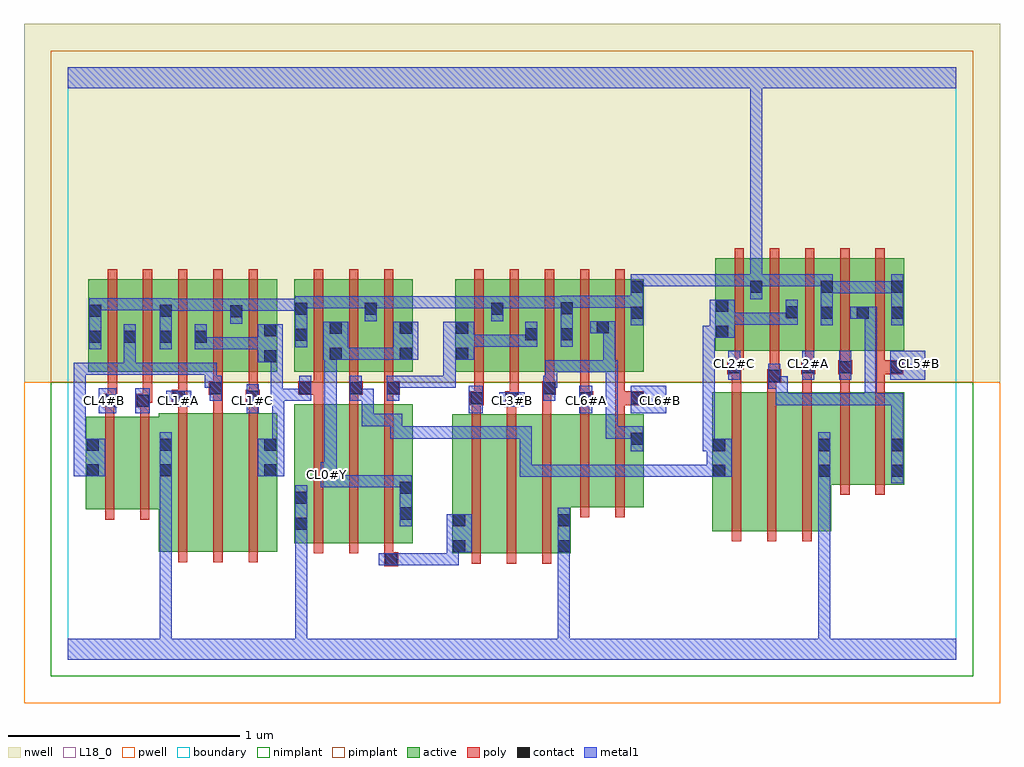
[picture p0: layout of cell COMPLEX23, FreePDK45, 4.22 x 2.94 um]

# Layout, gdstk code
import gdstk
lib = gdstk.Library(unit=1e-6, precision=1e-09)
def R(c, l, rs):  # rectangles x0, y0, x1, y1
    for r in rs: c.add(gdstk.rectangle(r[:2], r[2:], *l))
def A(c, l, x, y, w, h, nx, ny, dx, dy):  # array of equal rectangles
    R(c, l, [(x+i*dx, y+j*dy, x+i*dx+w, y+j*dy+h) for i in range(nx) for j in range(ny)])
active = (1, 0)
pwell = (2, 0)
nwell = (3, 0)
nimplant = (4, 0)
pimplant = (5, 0)
poly = (9, 0)
contact = (10, 0)
metal1 = (11, 0)
L18_0 = (18, 0)
boundary = (235, 0)

complex23 = lib.new_cell('COMPLEX23')
R(complex23, active, [(1.662,0.46,1.842,1.06), (1.662,0.46,1.722,1.06), (1.842,0.46,1.994,1.06), (1.994,0.46,2.174,1.06), (2.114,0.46,2.174,0.872), (0.394,0.466,0.574,1.066), (0.574,0.466,0.726,1.066), (0.726,0.466,0.906,1.066), (0.98,0.504,1.16,1.104), (1.16,0.504,1.312,1.104), (1.312,0.504,1.492,1.104), (1.432,0.504,1.492,1.104), (0.846,0.556,0.906,1.066), (0.98,0.556,1.04,1.104), (2.786,0.556,2.966,1.156), (2.786,0.556,2.846,1.156), (2.966,0.556,3.118,1.156), (3.118,0.556,3.298,1.156), (3.238,0.61,3.298,0.958), (0.078,0.65,0.258,1.05), (0.258,0.65,0.454,1.05), (2.114,0.66,2.31,1.06), (2.31,0.66,2.49,1.06), (0.078,0.756,0.138,1.05), (0.394,0.756,0.454,1.05), (2.43,0.756,2.49,1.06), (3.238,0.756,3.434,1.156), (3.434,0.756,3.614,1.156), (3.554,0.756,3.614,1.156), (0.09,1.244,0.15,1.644), (0.09,1.244,0.298,1.644), (0.238,1.244,0.454,1.644), (0.394,1.244,0.606,1.644), (0.546,1.244,0.758,1.644), (0.698,1.244,0.906,1.644), (0.846,1.244,0.906,1.644), (0.98,1.244,1.04,1.644), (0.98,1.244,1.188,1.644), (1.128,1.244,1.188,1.644), (1.128,1.244,1.34,1.644), (1.28,1.244,1.492,1.644), (1.432,1.244,1.492,1.644), (1.674,1.244,1.734,1.644), (1.674,1.244,1.886,1.644), (1.826,1.244,2.034,1.644), (1.974,1.244,2.186,1.644), (2.126,1.244,2.342,1.644), (2.282,1.244,2.342,1.644), (2.282,1.244,2.49,1.644), (2.43,1.244,2.49,1.644), (1.974,1.26,2.034,1.644), (0.238,1.266,0.298,1.644), (1.28,1.296,1.34,1.644), (0.546,1.314,0.606,1.644), (2.126,1.324,2.186,1.644), (2.798,1.334,2.858,1.644), (2.798,1.334,3.006,1.734), (2.946,1.334,3.158,1.734), (3.098,1.334,3.158,1.644), (3.098,1.334,3.31,1.734), (3.25,1.334,3.31,1.644), (3.25,1.334,3.466,1.734), (3.406,1.334,3.466,1.644), (3.406,1.334,3.614,1.734), (3.554,1.334,3.614,1.644), (0.394,1.338,0.454,1.644), (0.698,1.34,0.758,1.644), (2.946,1.342,3.006,1.644), (1.826,1.346,1.886,1.644)])
R(complex23, pwell, [(-0.188,-0.188,4.028,1.2)])
R(complex23, nwell, [(-0.188,1.2,4.028,2.748)])
R(complex23, nimplant, [(-0.072,-0.072,3.912,1.2)])
R(complex23, pimplant, [(-0.072,1.2,3.912,2.632)])
A(complex23, poly, 1.746, 0.416, 0.04, 0.688, 3, 1, 0.152, 0)
A(complex23, poly, 0.478, 0.422, 0.04, 0.688, 3, 1, 0.152, 0)
A(complex23, poly, 1.064, 0.46, 0.04, 0.688, 3, 1, 0.152, 0)
A(complex23, poly, 2.87, 0.512, 0.04, 0.688, 3, 1, 0.152, 0)
A(complex23, poly, 1.064, 1.108, 0.04, 0.076, 3, 2, 0.152, 0.056)
A(complex23, poly, 0.174, 1.2, 0.04, 0.488, 5, 1, 0.152, 0)
A(complex23, poly, 1.064, 1.2, 0.04, 0.488, 3, 1, 0.152, 0)
A(complex23, poly, 1.758, 1.2, 0.04, 0.488, 5, 1, 0.152, 0)
A(complex23, poly, 3.186, 1.254, 0.04, 0.076, 3, 1, 0.152, 0)
A(complex23, poly, 2.882, 1.29, 0.04, 0.488, 5, 1, 0.152, 0)
R(complex23, poly, [(1.368,0.404,1.428,0.464), (1.368,0.424,1.408,0.5), (0.162,0.606,0.202,1.094), (0.314,0.606,0.354,1.094), (2.214,0.616,2.254,1.104), (2.366,0.616,2.406,1.104), (3.338,0.712,3.378,1.2), (3.49,0.712,3.53,1.2), (0.162,1.054,0.202,1.13), (0.314,1.054,0.354,1.13), (1.746,1.064,1.786,1.14), (1.898,1.064,1.938,1.14), (2.05,1.064,2.09,1.184), (2.214,1.064,2.254,1.14), (2.366,1.064,2.406,1.14), (0.478,1.07,0.518,1.146), (0.63,1.07,0.67,1.184), (0.782,1.07,0.822,1.146), (0.154,1.09,0.214,1.15), (0.294,1.09,0.354,1.15), (1.738,1.1,1.798,1.16), (1.746,1.1,1.786,1.14), (1.746,1.1,1.786,1.14), (1.89,1.1,1.95,1.16), (1.898,1.1,1.938,1.14), (1.898,1.1,1.938,1.14), (2.21,1.1,2.27,1.16), (2.366,1.1,2.406,1.14), (2.366,1.1,2.406,1.14), (2.366,1.1,2.49,1.16), (0.45,1.106,0.518,1.166), (0.77,1.106,0.83,1.166), (0.174,1.11,0.214,1.15), (0.174,1.11,0.214,1.15), (0.174,1.11,0.214,1.24), (0.314,1.11,0.354,1.15), (0.314,1.11,0.366,1.15), (0.326,1.11,0.366,1.24), (1.758,1.12,1.798,1.24), (1.91,1.12,1.95,1.24), (2.214,1.12,2.254,1.16), (2.214,1.12,2.254,1.16), (2.214,1.12,2.254,1.24), (2.366,1.12,2.406,1.24), (0.478,1.126,0.518,1.166), (0.478,1.126,0.518,1.166), (0.478,1.126,0.518,1.24), (0.782,1.126,0.822,1.166), (0.782,1.126,0.822,1.166), (0.782,1.126,0.822,1.24), (0.61,1.144,0.67,1.204), (0.63,1.144,0.67,1.184), (0.63,1.144,0.67,1.184), (0.996,1.144,1.104,1.204), (1.064,1.144,1.104,1.184), (1.064,1.144,1.104,1.184), (1.216,1.144,1.276,1.204), (1.368,1.144,1.408,1.184), (1.368,1.144,1.408,1.184), (1.368,1.144,1.436,1.204), (2.05,1.144,2.09,1.184), (2.05,1.144,2.09,1.184), (2.05,1.144,2.11,1.204), (2.87,1.16,2.91,1.274), (3.022,1.16,3.062,1.236), (3.174,1.16,3.214,1.274), (3.338,1.16,3.378,1.274), (3.49,1.16,3.53,1.274), (0.63,1.164,0.67,1.24), (1.216,1.164,1.256,1.204), (1.216,1.164,1.256,1.204), (2.062,1.164,2.102,1.24), (3.022,1.196,3.082,1.256), (3.034,1.216,3.074,1.256), (3.034,1.216,3.074,1.256), (3.034,1.216,3.074,1.33), (2.85,1.234,2.91,1.294), (3.17,1.234,3.23,1.294), (3.174,1.234,3.214,1.274), (3.174,1.234,3.214,1.274), (3.33,1.234,3.39,1.294), (3.338,1.234,3.378,1.274), (3.338,1.234,3.378,1.274), (3.49,1.234,3.53,1.274), (3.49,1.234,3.53,1.274), (3.49,1.234,3.61,1.294), (2.87,1.254,2.91,1.294), (2.87,1.254,2.922,1.294), (2.882,1.254,2.922,1.33)])
A(complex23, contact, 2.95, 1.586, 0.052, 0.052, 3, 1, 0.304, 0)
R(complex23, contact, [(1.372,0.408,1.424,0.46), (1.666,0.464,1.718,0.516), (2.118,0.464,2.17,0.516), (0.984,0.562,1.036,0.614), (1.666,0.576,1.718,0.628), (2.118,0.576,2.17,0.628), (1.436,0.606,1.488,0.658), (0.984,0.674,1.036,0.726), (1.436,0.718,1.488,0.77), (2.79,0.79,2.842,0.842), (3.242,0.79,3.294,0.842), (3.558,0.79,3.61,0.842), (0.082,0.792,0.134,0.844), (0.398,0.792,0.45,0.844), (0.85,0.792,0.902,0.844), (2.79,0.902,2.842,0.954), (3.242,0.902,3.294,0.954), (3.558,0.902,3.61,0.954), (0.082,0.904,0.134,0.956), (0.398,0.904,0.45,0.956), (0.85,0.904,0.902,0.956), (2.434,0.928,2.486,0.98), (0.158,1.094,0.21,1.146), (0.298,1.094,0.35,1.146), (1.742,1.104,1.794,1.156), (1.894,1.104,1.946,1.156), (2.214,1.104,2.266,1.156), (2.434,1.104,2.486,1.156), (0.454,1.11,0.506,1.162), (0.774,1.11,0.826,1.162), (0.614,1.148,0.666,1.2), (1,1.148,1.052,1.2), (1.22,1.148,1.272,1.2), (1.38,1.148,1.432,1.2), (2.054,1.148,2.106,1.2), (3.026,1.2,3.078,1.252), (2.854,1.238,2.906,1.29), (3.174,1.238,3.226,1.29), (3.334,1.238,3.386,1.29), (3.554,1.238,3.606,1.29), (0.85,1.286,0.902,1.338), (1.132,1.296,1.184,1.348), (1.436,1.296,1.488,1.348), (1.678,1.296,1.73,1.348), (0.094,1.37,0.146,1.422), (0.242,1.37,0.294,1.422), (0.398,1.37,0.45,1.422), (0.55,1.37,0.602,1.422), (0.984,1.378,1.036,1.43), (1.978,1.38,2.03,1.432), (2.13,1.38,2.182,1.432), (2.802,1.392,2.854,1.444), (0.85,1.398,0.902,1.45), (1.132,1.408,1.184,1.46), (1.436,1.408,1.488,1.46), (1.678,1.408,1.73,1.46), (2.286,1.41,2.338,1.462), (2.434,1.474,2.486,1.526), (3.254,1.474,3.306,1.526), (3.41,1.474,3.462,1.526), (3.558,1.474,3.61,1.526), (3.102,1.476,3.154,1.528), (0.702,1.48,0.754,1.532), (0.094,1.482,0.146,1.534), (0.398,1.482,0.45,1.534), (0.984,1.49,1.036,1.542), (1.284,1.49,1.336,1.542), (1.83,1.49,1.882,1.542), (2.13,1.492,2.182,1.544), (2.802,1.504,2.854,1.556), (2.434,1.586,2.486,1.638)])
A(complex23, metal1, 1.734, 1.518, 0.052, 0.052, 3, 1, 0.11, 0)
R(complex23, metal1, [(0,0,3.84,0.092), (0.398,0.04,0.45,0.092), (0.398,0.04,0.45,0.092), (0.398,0.04,0.45,0.816), (0.984,0.04,1.036,0.092), (0.984,0.04,1.036,0.092), (0.984,0.04,1.036,0.092), (0.984,0.04,1.036,0.092), (0.984,0.04,1.036,0.092), (0.984,0.04,1.036,0.092), (0.984,0.04,1.036,0.092), (0.984,0.04,1.036,0.092), (0.984,0.04,1.036,0.586), (2.118,0.04,2.17,0.092), (2.118,0.04,2.17,0.092), (2.118,0.04,2.17,0.092), (2.118,0.04,2.17,0.092), (2.118,0.04,2.17,0.092), (2.118,0.04,2.17,0.092), (2.118,0.04,2.17,0.092), (2.118,0.04,2.17,0.092), (2.118,0.04,2.17,0.488), (3.242,0.04,3.294,0.092), (3.242,0.04,3.294,0.092), (3.242,0.04,3.294,0.814), (1.344,0.408,1.452,0.46), (1.4,0.408,1.676,0.46), (1.624,0.408,1.676,0.46), (1.624,0.408,1.69,0.46), (1.638,0.408,1.69,0.46), (1.638,0.408,1.69,0.516), (2.118,0.436,2.17,0.656), (1.638,0.464,1.746,0.628), (0.984,0.534,1.036,0.754), (1.436,0.578,1.488,0.798), (1.094,0.746,1.162,0.854), (1.11,0.746,1.162,0.798), (1.11,0.746,1.162,0.798), (1.11,0.746,1.286,0.798), (1.234,0.746,1.286,0.798), (1.234,0.746,1.322,0.798), (1.27,0.746,1.322,0.798), (1.27,0.746,1.488,0.798), (1.436,0.746,1.488,0.798), (1.436,0.746,1.488,0.798), (3.242,0.762,3.294,0.814), (3.242,0.762,3.294,0.814), (3.242,0.762,3.294,0.814), (3.242,0.762,3.294,0.814), (3.242,0.762,3.294,0.814), (3.242,0.762,3.294,0.814), (3.242,0.762,3.294,0.982), (3.558,0.762,3.61,0.982), (0.398,0.764,0.45,0.816), (0.398,0.764,0.45,0.816), (0.398,0.764,0.45,0.816), (0.398,0.764,0.45,0.816), (0.398,0.764,0.45,0.816), (0.398,0.764,0.45,0.816), (0.398,0.764,0.45,0.984), (1.954,0.79,2.006,0.842), (1.954,0.79,2.146,0.842), (1.954,0.79,2.006,1.008), (2.094,0.79,2.146,0.842), (2.094,0.79,2.146,0.842), (2.094,0.79,2.146,0.842), (2.094,0.79,2.256,0.842), (2.204,0.79,2.256,0.842), (2.204,0.79,2.376,0.842), (2.324,0.79,2.376,0.842), (2.324,0.79,2.376,0.842), (2.324,0.79,2.376,0.842), (2.324,0.79,2.596,0.842), (2.544,0.79,2.596,0.842), (2.544,0.79,2.596,0.842), (2.544,0.79,2.596,0.842), (2.544,0.79,2.814,0.842), (2.762,0.79,2.87,0.954), (0.026,0.792,0.162,0.956), (0.822,0.792,0.936,0.956), (1.11,0.802,1.162,1.348), (2.434,0.9,2.486,1.008), (2.744,0.902,2.796,0.954), (2.744,0.902,2.796,0.954), (2.744,0.902,2.796,1.444), (2.744,0.902,2.814,0.954), (2.762,0.902,2.814,0.954), (0.026,0.904,0.078,0.956), (0.026,0.904,0.078,0.956), (0.026,0.904,0.078,1.284), (0.884,0.904,0.936,1.172), (3.558,0.93,3.61,1.152), (1.394,0.956,1.772,1.008), (1.394,0.956,1.446,1.062), (1.72,0.956,1.772,1.008), (1.72,0.956,1.786,1.008), (1.734,0.956,1.786,1.008), (1.734,0.956,1.896,1.008), (1.844,0.956,1.896,1.008), (1.844,0.956,1.896,1.008), (1.844,0.956,1.896,1.008), (1.844,0.956,2.006,1.008), (1.954,0.956,2.006,1.008), (2.324,0.956,2.376,1.008), (2.324,0.956,2.486,1.008), (2.324,0.956,2.376,1.294), (2.434,0.956,2.486,1.008), (2.434,0.956,2.486,1.008), (2.434,0.956,2.486,1.008), (2.434,0.956,2.486,1.008), (1.27,1.01,1.446,1.062), (1.27,1.01,1.322,1.172), (1.394,1.01,1.446,1.062), (1.394,1.01,1.446,1.062), (0.134,1.066,0.21,1.174), (0.292,1.066,0.356,1.174), (0.774,1.066,0.826,1.19), (1.734,1.066,1.794,1.184), (2.21,1.066,2.266,1.184), (2.434,1.066,2.586,1.184), (0.426,1.094,0.534,1.162), (1.866,1.094,1.974,1.156), (3.06,1.1,3.112,1.224), (3.06,1.1,3.188,1.152), (3.136,1.1,3.188,1.152), (3.136,1.1,3.294,1.152), (3.242,1.1,3.294,1.152), (3.242,1.1,3.496,1.152), (3.444,1.1,3.496,1.152), (3.444,1.1,3.496,1.152), (3.444,1.1,3.496,1.152), (3.444,1.1,3.496,1.152), (3.444,1.1,3.496,1.152), (3.444,1.1,3.61,1.152), (3.444,1.1,3.496,1.526), (3.558,1.1,3.61,1.152), (3.558,1.1,3.61,1.152), (3.558,1.1,3.61,1.152), (0.614,1.12,0.666,1.228), (0.878,1.12,0.93,1.338), (0.878,1.12,0.936,1.172), (0.884,1.12,0.936,1.172), (0.884,1.12,0.936,1.172), (0.884,1.12,1.036,1.172), (0.984,1.12,1.036,1.172), (0.984,1.12,1.052,1.172), (1,1.12,1.052,1.228), (1.22,1.12,1.272,1.228), (1.22,1.12,1.322,1.172), (1.38,1.12,1.432,1.228), (2.054,1.12,2.106,1.228), (3.026,1.172,3.078,1.28), (3.026,1.172,3.112,1.224), (0.592,1.176,0.644,1.284), (0.592,1.176,0.666,1.228), (1.38,1.176,1.676,1.228), (1.624,1.176,1.676,1.228), (1.624,1.176,1.676,1.228), (1.624,1.176,1.676,1.228), (1.624,1.176,1.676,1.348), (2.054,1.176,2.116,1.228), (2.064,1.176,2.116,1.294), (2.854,1.21,2.906,1.334), (3.174,1.21,3.226,1.334), (3.334,1.21,3.386,1.334), (3.554,1.21,3.706,1.334), (0.026,1.232,0.078,1.284), (0.026,1.232,0.078,1.284), (0.026,1.232,0.078,1.284), (0.026,1.232,0.294,1.284), (0.242,1.232,0.294,1.284), (0.242,1.232,0.294,1.284), (0.242,1.232,0.294,1.284), (0.242,1.232,0.294,1.394), (0.242,1.232,0.486,1.284), (0.434,1.232,0.486,1.284), (0.434,1.232,0.486,1.284), (0.434,1.232,0.486,1.284), (0.434,1.232,0.644,1.284), (2.064,1.242,2.366,1.294), (2.314,1.242,2.366,1.294), (2.314,1.242,2.366,1.294), (2.314,1.242,2.366,1.462), (2.314,1.242,2.376,1.294), (0.822,1.286,0.93,1.45), (1.104,1.296,1.212,1.46), (1.11,1.296,1.162,1.348), (1.11,1.296,1.162,1.348), (1.16,1.296,1.256,1.348), (1.204,1.296,1.256,1.348), (1.204,1.296,1.336,1.348), (1.284,1.296,1.336,1.348), (1.284,1.296,1.46,1.348), (1.408,1.296,1.46,1.348), (1.408,1.296,1.46,1.348), (1.408,1.296,1.516,1.46), (1.624,1.296,1.758,1.46), (0.094,1.342,0.146,1.562), (0.242,1.342,0.294,1.45), (0.398,1.342,0.45,1.562), (0.55,1.342,0.602,1.394), (0.55,1.342,0.602,1.394), (0.55,1.342,0.754,1.394), (0.55,1.342,0.602,1.45), (0.702,1.342,0.754,1.394), (0.702,1.342,0.754,1.394), (0.702,1.342,0.754,1.394), (0.702,1.342,0.874,1.394), (0.984,1.35,1.036,1.57), (1.706,1.352,1.786,1.404), (1.734,1.352,1.786,1.404), (1.734,1.352,1.896,1.404), (1.844,1.352,1.896,1.404), (1.844,1.352,1.896,1.404), (1.844,1.352,1.896,1.404), (1.844,1.352,2.03,1.404), (1.978,1.352,2.03,1.46), (2.13,1.352,2.182,1.572), (2.744,1.392,2.826,1.444), (2.774,1.392,2.826,1.444), (2.774,1.392,2.882,1.556), (2.258,1.41,2.366,1.462), (2.434,1.446,2.486,1.666), (3.254,1.446,3.306,1.666), (3.558,1.446,3.61,1.666), (2.83,1.448,2.882,1.5), (2.83,1.448,2.882,1.5), (2.83,1.448,3.002,1.5), (2.95,1.448,3.002,1.5), (2.95,1.448,3.002,1.5), (2.95,1.448,3.002,1.5), (2.95,1.448,3.154,1.5), (3.102,1.448,3.154,1.556), (0.702,1.452,0.754,1.56), (1.284,1.462,1.336,1.57), (1.83,1.462,1.882,1.57), (3.382,1.474,3.496,1.526), (0.398,1.508,0.45,1.56), (0.398,1.508,0.45,1.56), (0.398,1.508,0.644,1.56), (0.592,1.508,0.644,1.56), (0.592,1.508,0.644,1.56), (0.592,1.508,0.644,1.56), (0.592,1.508,0.754,1.56), (0.702,1.508,0.926,1.56), (0.874,1.508,0.926,1.56), (0.874,1.508,0.926,1.56), (0.874,1.508,0.926,1.56), (0.874,1.508,1.036,1.56), (0.094,1.51,0.146,1.562), (0.094,1.51,0.146,1.562), (0.094,1.51,0.34,1.562), (0.288,1.51,0.34,1.562), (0.288,1.51,0.34,1.562), (0.288,1.51,0.34,1.562), (0.288,1.51,0.45,1.562), (0.984,1.518,1.146,1.57), (1.094,1.518,1.146,1.57), (1.094,1.518,1.146,1.57), (1.094,1.518,1.146,1.57), (1.094,1.518,1.256,1.57), (1.204,1.518,1.256,1.57), (1.204,1.518,1.336,1.57), (1.284,1.518,1.446,1.57), (1.394,1.518,1.446,1.57), (1.394,1.518,1.446,1.57), (1.394,1.518,1.446,1.57), (1.394,1.518,1.762,1.57), (1.71,1.518,1.762,1.57), (1.71,1.518,1.786,1.57), (1.734,1.518,1.882,1.57), (1.83,1.518,1.896,1.57), (1.844,1.518,2.006,1.57), (1.954,1.518,2.006,1.57), (1.954,1.518,2.006,1.57), (1.954,1.518,2.182,1.57), (2.13,1.52,2.292,1.572), (2.24,1.52,2.292,1.572), (2.24,1.52,2.292,1.572), (2.24,1.52,2.292,1.572), (2.24,1.52,2.486,1.572), (2.434,1.52,2.486,1.572), (2.434,1.52,2.486,1.572), (2.95,1.558,3.002,1.666), (3.254,1.584,3.496,1.636), (3.444,1.584,3.496,1.636), (3.444,1.584,3.496,1.636), (3.444,1.584,3.496,1.636), (3.444,1.584,3.61,1.636), (3.558,1.584,3.61,1.636), (3.558,1.584,3.61,1.636), (2.434,1.614,2.706,1.666), (2.654,1.614,2.706,1.666), (2.654,1.614,2.706,1.666), (2.654,1.614,2.706,1.666), (2.654,1.614,3.002,1.666), (2.95,1.614,3.002,1.666), (2.95,1.614,3.002,1.666), (2.95,1.614,3.002,1.666), (2.95,1.614,3.002,1.666), (2.95,1.614,3.002,1.666), (2.95,1.614,3.002,1.666), (2.95,1.614,3.184,1.666), (2.95,1.614,3.002,2.52), (3.132,1.614,3.184,1.666), (3.132,1.614,3.276,1.666), (3.224,1.614,3.276,1.666), (3.224,1.614,3.306,1.666), (0,2.468,3.84,2.56), (2.95,2.468,3.002,2.52), (2.95,2.468,3.002,2.52), (2.95,2.468,3.002,2.52), (2.95,2.468,3.002,2.52), (2.95,2.468,3.002,2.52), (2.95,2.468,3.002,2.52), (2.95,2.468,3.002,2.52), (2.95,2.468,3.002,2.52), (2.95,2.468,3.002,2.52), (2.95,2.468,3.002,2.52), (2.95,2.468,3.002,2.52), (2.95,2.468,3.002,2.52)])
A(complex23, L18_0, 0.134, 1.094, 0.052, 0.052, 3, 1, 0.16, 0)
A(complex23, L18_0, 1.894, 1.094, 0.052, 0.052, 3, 1, 0.32, 0)
A(complex23, L18_0, 1.734, 1.518, 0.052, 0.052, 3, 1, 0.11, 0)
R(complex23, L18_0, [(0,0,3.84,0.092), (0.398,0.04,0.45,0.092), (0.398,0.04,0.45,0.092), (0.398,0.04,0.45,0.816), (0.984,0.04,1.036,0.092), (0.984,0.04,1.036,0.092), (0.984,0.04,1.036,0.092), (0.984,0.04,1.036,0.092), (0.984,0.04,1.036,0.092), (0.984,0.04,1.036,0.092), (0.984,0.04,1.036,0.092), (0.984,0.04,1.036,0.092), (0.984,0.04,1.036,0.586), (2.118,0.04,2.17,0.092), (2.118,0.04,2.17,0.092), (2.118,0.04,2.17,0.092), (2.118,0.04,2.17,0.092), (2.118,0.04,2.17,0.092), (2.118,0.04,2.17,0.092), (2.118,0.04,2.17,0.092), (2.118,0.04,2.17,0.092), (2.118,0.04,2.17,0.488), (3.242,0.04,3.294,0.092), (3.242,0.04,3.294,0.092), (3.242,0.04,3.294,0.814), (2.118,0.436,2.17,0.656), (0.984,0.534,1.036,0.754), (1.436,0.578,1.488,0.798), (1.094,0.746,1.162,0.854), (1.11,0.746,1.162,0.798), (1.11,0.746,1.162,0.798), (1.11,0.746,1.286,0.798), (1.234,0.746,1.286,0.798), (1.234,0.746,1.322,0.798), (1.27,0.746,1.322,0.798), (1.27,0.746,1.488,0.798), (1.436,0.746,1.488,0.798), (1.436,0.746,1.488,0.798), (3.242,0.762,3.294,0.982), (3.242,0.762,3.294,0.814), (3.242,0.762,3.294,0.814), (3.242,0.762,3.294,0.814), (3.242,0.762,3.294,0.814), (3.242,0.762,3.294,0.814), (3.242,0.762,3.294,0.814), (0.398,0.764,0.45,0.984), (0.398,0.764,0.45,0.816), (0.398,0.764,0.45,0.816), (0.398,0.764,0.45,0.816), (0.398,0.764,0.45,0.816), (0.398,0.764,0.45,0.816), (0.398,0.764,0.45,0.816), (1.094,0.774,1.146,0.826), (1.11,0.802,1.162,1.348), (0.134,1.066,0.21,1.174), (0.292,1.066,0.356,1.174), (0.774,1.066,0.826,1.19), (1.734,1.066,1.794,1.184), (2.21,1.066,2.266,1.184), (2.434,1.066,2.586,1.184), (0.426,1.094,0.534,1.162), (0.774,1.094,0.826,1.146), (1.734,1.094,1.786,1.146), (1.866,1.094,1.974,1.156), (2.854,1.21,2.906,1.334), (3.174,1.21,3.226,1.334), (3.334,1.21,3.386,1.334), (3.554,1.21,3.706,1.334), (2.854,1.254,2.906,1.306), (3.174,1.254,3.226,1.306), (3.334,1.254,3.386,1.306), (3.654,1.254,3.706,1.306), (1.104,1.296,1.212,1.46), (1.11,1.296,1.162,1.348), (1.11,1.296,1.162,1.348), (1.16,1.296,1.256,1.348), (1.204,1.296,1.256,1.348), (1.204,1.296,1.336,1.348), (1.284,1.296,1.336,1.348), (1.284,1.296,1.46,1.348), (1.408,1.296,1.46,1.348), (1.408,1.296,1.46,1.348), (1.408,1.296,1.516,1.46), (0.094,1.342,0.146,1.562), (0.398,1.342,0.45,1.562), (0.984,1.35,1.036,1.57), (2.13,1.352,2.182,1.572), (2.434,1.446,2.486,1.666), (3.254,1.446,3.306,1.666), (3.558,1.446,3.61,1.666), (0.702,1.452,0.754,1.56), (1.284,1.462,1.336,1.57), (1.83,1.462,1.882,1.57), (0.398,1.508,0.45,1.56), (0.398,1.508,0.45,1.56), (0.398,1.508,0.644,1.56), (0.592,1.508,0.644,1.56), (0.592,1.508,0.644,1.56), (0.592,1.508,0.644,1.56), (0.592,1.508,0.754,1.56), (0.702,1.508,0.926,1.56), (0.874,1.508,0.926,1.56), (0.874,1.508,0.926,1.56), (0.874,1.508,0.926,1.56), (0.874,1.508,1.036,1.56), (0.094,1.51,0.146,1.562), (0.094,1.51,0.146,1.562), (0.094,1.51,0.34,1.562), (0.288,1.51,0.34,1.562), (0.288,1.51,0.34,1.562), (0.288,1.51,0.34,1.562), (0.288,1.51,0.45,1.562), (0.984,1.518,1.146,1.57), (1.094,1.518,1.146,1.57), (1.094,1.518,1.146,1.57), (1.094,1.518,1.146,1.57), (1.094,1.518,1.256,1.57), (1.204,1.518,1.256,1.57), (1.204,1.518,1.336,1.57), (1.284,1.518,1.446,1.57), (1.394,1.518,1.446,1.57), (1.394,1.518,1.446,1.57), (1.394,1.518,1.446,1.57), (1.394,1.518,1.762,1.57), (1.71,1.518,1.762,1.57), (1.71,1.518,1.786,1.57), (1.734,1.518,1.882,1.57), (1.83,1.518,1.896,1.57), (1.844,1.518,2.006,1.57), (1.954,1.518,2.006,1.57), (1.954,1.518,2.006,1.57), (1.954,1.518,2.182,1.57), (2.13,1.52,2.292,1.572), (2.24,1.52,2.292,1.572), (2.24,1.52,2.292,1.572), (2.24,1.52,2.292,1.572), (2.24,1.52,2.486,1.572), (2.434,1.52,2.486,1.572), (2.434,1.52,2.486,1.572), (2.95,1.558,3.002,1.666), (3.254,1.584,3.496,1.636), (3.444,1.584,3.496,1.636), (3.444,1.584,3.496,1.636), (3.444,1.584,3.496,1.636), (3.444,1.584,3.61,1.636), (3.558,1.584,3.61,1.636), (3.558,1.584,3.61,1.636), (2.434,1.614,2.706,1.666), (2.654,1.614,2.706,1.666), (2.654,1.614,2.706,1.666), (2.654,1.614,2.706,1.666), (2.654,1.614,3.002,1.666), (2.95,1.614,3.002,1.666), (2.95,1.614,3.002,1.666), (2.95,1.614,3.002,1.666), (2.95,1.614,3.002,1.666), (2.95,1.614,3.002,1.666), (2.95,1.614,3.002,1.666), (2.95,1.614,3.002,2.52), (2.95,1.614,3.184,1.666), (3.132,1.614,3.184,1.666), (3.132,1.614,3.276,1.666), (3.224,1.614,3.276,1.666), (3.224,1.614,3.306,1.666), (0,2.468,3.84,2.56), (2.95,2.468,3.002,2.52), (2.95,2.468,3.002,2.52), (2.95,2.468,3.002,2.52), (2.95,2.468,3.002,2.52), (2.95,2.468,3.002,2.52), (2.95,2.468,3.002,2.52), (2.95,2.468,3.002,2.52), (2.95,2.468,3.002,2.52), (2.95,2.468,3.002,2.52), (2.95,2.468,3.002,2.52), (2.95,2.468,3.002,2.52), (2.95,2.468,3.002,2.52)])
R(complex23, boundary, [(0,0,3.84,2.56)])
complex23.add(gdstk.Label('CL0#Y', (1.12,0.8), layer=11, texttype=0))
complex23.add(gdstk.Label('CL1#A', (0.48,1.12), layer=11, texttype=0))
complex23.add(gdstk.Label('CL1#C', (0.8,1.12), layer=11, texttype=0))
complex23.add(gdstk.Label('CL2#A', (3.2,1.28), layer=11, texttype=0))
complex23.add(gdstk.Label('CL2#C', (2.88,1.28), layer=11, texttype=0))
complex23.add(gdstk.Label('CL3#B', (1.92,1.12), layer=11, texttype=0))
complex23.add(gdstk.Label('CL3#C', (1.76,1.12), layer=11, texttype=0))
complex23.add(gdstk.Label('CL4#A', (0.32,1.12), layer=11, texttype=0))
complex23.add(gdstk.Label('CL4#B', (0.16,1.12), layer=11, texttype=0))
complex23.add(gdstk.Label('CL5#A', (3.36,1.28), layer=11, texttype=0))
complex23.add(gdstk.Label('CL5#B', (3.68,1.28), layer=11, texttype=0))
complex23.add(gdstk.Label('CL6#A', (2.24,1.12), layer=11, texttype=0))
complex23.add(gdstk.Label('CL6#B', (2.56,1.12), layer=11, texttype=0))

lib.write_gds('COMPLEX23.gds')
